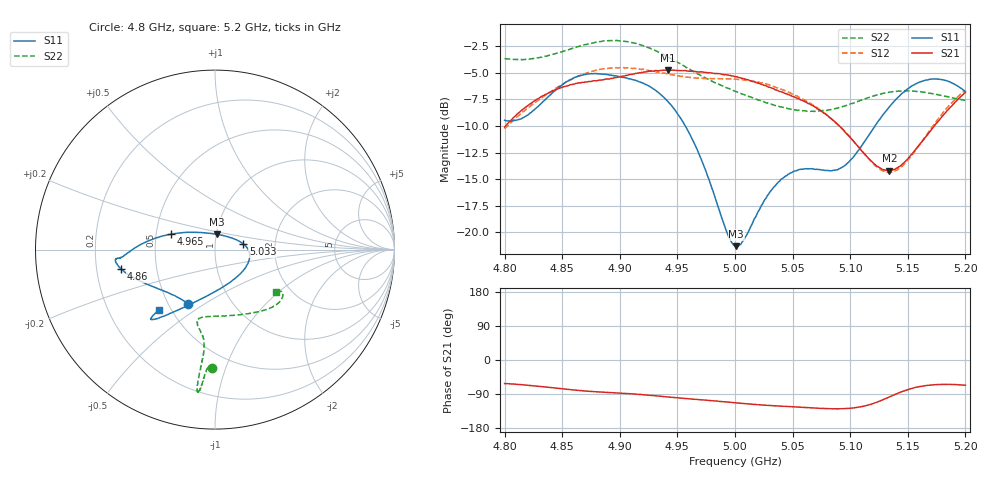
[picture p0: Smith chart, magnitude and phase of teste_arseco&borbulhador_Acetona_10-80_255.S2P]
! Network Analyzer HP8722D
! Hewlett-Packard
! Data name: Linha & Wilkinson
! Saver's name: Rodrigo Anjos
! Comments: Teste da utilização de aquisição
! continua pelo VNA HP8722D
! Time and date: 17/4/2025 16:29
!  Frequency  S11  S21  S12  S22
# HZ  S  MA R 50
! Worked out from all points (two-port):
!   401 points, 4.8 GHz to 5.2 GHz, reference 50 ohm
!   highest |S21| = -4.72 dB at 4.942 GHz (marker M1); lowest = -14.2 dB at 5.134 GHz (marker M2)
!   |S21| within 3 dB of the highest: 4.825 GHz to 5.061 GHz (236.1 MHz wide, 4.78 % of centre); 5.191442 GHz to end of sweep
!   lowest |S11| = -21.3 dB at 5.001 GHz (marker M3), VSWR 1.19, Z = 50.4 + j8.64 ohm
!   |S11| at or under -10 dB: 4.957 GHz to 5.122 GHz (164.7 MHz wide, 3.27 % of centre)
!   |S22| runs from -8.6 to -1.9 dB; largest |S21 - S12| = 0.87
!   S11 on the Smith chart (normalised r, x): 4.8 GHz: 0.63, -0.43; 4.86 GHz: 0.31, -0.09; 4.965 GHz: 0.60, +0.11; 5.033 GHz: 1.37, +0.09; 5.2 GHz: 0.43, -0.36
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4.8e9  0.3365 -116.4  0.3127 -62.1  0.3068 -176.4  0.6573 -91.3
4.819e9  0.3536 -136.8  0.3904 -66.2  0.3798 -175.9  0.6539 -92.9
4.86e9  0.5331 -168.2  0.4987 -79.1  0.531 -179.1  0.7351 -95.2
4.867e9  0.5489 -170.9  0.5068 -81.2  0.5511 179.5  0.7576 -95.6
4.899e9  0.5408 -175.0  0.5373 -87.2  0.5937 173.4  0.7969 -96.9
4.934e9  0.4522 179.4  0.5763 -95.4  0.5679 170.2  0.7029 -97.2
4.942e9  0.4114 175.8  0.5806 -97.7  0.5553 170.2  0.6675 -96.9
4.965e9  0.2598 160.7  0.5722 -103.7  0.5328 172.2  0.5671 -96.3
4.993e9  0.09984 112.5  0.5501 -110.9  0.5273 174.3  0.4784 -98.8
5e9  0.08618 86.3  0.5393 -112.9  0.526 174.4  0.4614 -100.0
5.001e9  0.08582 82.1  0.5396 -113.0  0.5252 174.4  0.4596 -100.4
5.008e9  0.09241 56.3  0.5277 -115.1  0.5204 174.3  0.4444 -101.8
5.033e9  0.161 11.4  0.4759 -120.5  0.4864 173.0  0.3977 -103.6
5.05e9  0.192 -4.8  0.4363 -123.6  0.4463 172.4  0.3788 -98.5
5.067e9  0.199 -23.2  0.395 -126.2  0.3989 172.4  0.3713 -88.6
5.096e9  0.2074 -73.6  0.2943 -128.0  0.2954 174.8  0.3943 -66.1
5.121e9  0.3125 -111.1  0.2095 -113.9  0.207 -168.8  0.4396 -49.6
5.134e9  0.3897 -121.0  0.1949 -97.5  0.1907 -150.5  0.4565 -43.3
5.146e9  0.4547 -126.5  0.2106 -82.3  0.2062 -133.0  0.463 -38.8
5.167e9  0.5209 -131.7  0.2864 -67.0  0.2909 -113.6  0.4533 -33.4
5.183e9  0.518 -133.2  0.3667 -64.3  0.379 -108.9  0.436 -32.3
5.2e9  0.4584 -133.1  0.4551 -66.6  0.4663 -108.8  0.4169 -34.8
